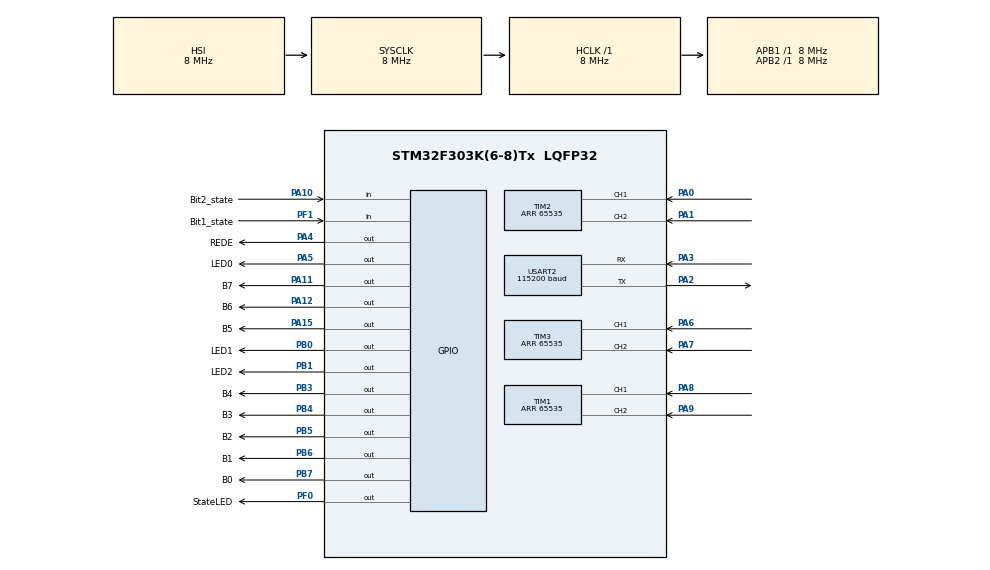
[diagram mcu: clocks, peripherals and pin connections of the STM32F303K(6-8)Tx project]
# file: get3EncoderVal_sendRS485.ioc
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Mcu.Family=STM32F3
Mcu.Name=STM32F303K(6-8)Tx
Mcu.Package=LQFP32
NVIC.PriorityGroup=NVIC_PRIORITYGROUP_4
NVIC.USART2_IRQn=true\:1\:0\:true\:false\:true
PA0.Signal=S_TIM2_CH1_ETR
PA1.Signal=S_TIM2_CH2
PA10.GPIO_Label=Bit2_state
PA10.Signal=GPIO_Input
PA11.GPIO_Label=B7
PA11.Signal=GPIO_Output
PA12.GPIO_Label=B6
PA12.Signal=GPIO_Output
PA13.Mode=Serial_Wire
PA13.Signal=SYS_JTMS-SWDIO
PA14.Mode=Serial_Wire
PA14.Signal=SYS_JTCK-SWCLK
PA15.GPIO_Label=B5
PA15.Signal=GPIO_Output
PA2.Mode=Asynchronous
PA2.Signal=USART2_TX
PA3.Mode=Asynchronous
PA3.Signal=USART2_RX
PA4.GPIO_Label=REDE
PA4.GPIO_ModeDefaultOutputPP=GPIO_MODE_OUTPUT_PP
PA4.GPIO_PuPd=GPIO_NOPULL
PA4.GPIO_Speed=GPIO_SPEED_FREQ_LOW
PA4.PinState=GPIO_PIN_RESET
PA4.Signal=GPIO_Output
PA5.GPIO_Label=LED0
PA5.GPIO_ModeDefaultOutputPP=GPIO_MODE_OUTPUT_PP
PA5.GPIO_PuPd=GPIO_NOPULL
PA5.GPIO_Speed=GPIO_SPEED_FREQ_LOW
PA5.PinState=GPIO_PIN_RESET
PA5.Signal=GPIO_Output
PA6.Signal=S_TIM3_CH1
PA7.Signal=S_TIM3_CH2
PA8.Signal=S_TIM1_CH1
PA9.Signal=S_TIM1_CH2
PB0.GPIO_Label=LED1
PB0.GPIO_ModeDefaultOutputPP=GPIO_MODE_OUTPUT_PP
PB0.GPIO_PuPd=GPIO_NOPULL
PB0.GPIO_Speed=GPIO_SPEED_FREQ_LOW
PB0.PinState=GPIO_PIN_RESET
PB0.Signal=GPIO_Output
PB1.GPIO_Label=LED2
PB1.GPIO_ModeDefaultOutputPP=GPIO_MODE_OUTPUT_PP
PB1.GPIO_PuPd=GPIO_NOPULL
PB1.GPIO_Speed=GPIO_SPEED_FREQ_LOW
PB1.PinState=GPIO_PIN_RESET
PB1.Signal=GPIO_Output
PB3.GPIO_Label=B4
PB3.Signal=GPIO_Output
PB4.GPIO_Label=B3
PB4.Signal=GPIO_Output
PB5.GPIO_Label=B2
PB5.Signal=GPIO_Output
PB6.GPIO_Label=B1
PB6.Signal=GPIO_Output
PB7.GPIO_Label=B0
PB7.Signal=GPIO_Output
PF0\ /\ OSC_IN.GPIO_Label=StateLED
PF0\ /\ OSC_IN.GPIO_ModeDefaultOutputPP=GPIO_MODE_OUTPUT_PP
PF0\ /\ OSC_IN.GPIO_PuPd=GPIO_NOPULL
PF0\ /\ OSC_IN.GPIO_Speed=GPIO_SPEED_FREQ_LOW
PF0\ /\ OSC_IN.PinState=GPIO_PIN_RESET
PF0\ /\ OSC_IN.Signal=GPIO_Output
PF1\ /\ OSC_OUT.GPIO_Label=Bit1_state
PF1\ /\ OSC_OUT.Signal=GPIO_Input
ProjectManager.HeapSize=0x200
ProjectManager.StackSize=0x400
ProjectManager.TargetToolchain=SW4STM32
RCC.AHBFreq_Value=8000000
RCC.APB1Freq_Value=8000000
RCC.APB2Freq_Value=8000000
RCC.CortexFreq_Value=8000000
RCC.HSE_VALUE=8000000
RCC.HSI_VALUE=8000000
RCC.SYSCLKFreq_VALUE=8000000
SH.S_TIM1_CH1.0=TIM1_CH1,Encoder_Interface
SH.S_TIM1_CH2.0=TIM1_CH2,Encoder_Interface
SH.S_TIM2_CH1_ETR.0=TIM2_CH1,Encoder_Interface
SH.S_TIM2_CH2.0=TIM2_CH2,Encoder_Interface
SH.S_TIM3_CH1.0=TIM3_CH1,Encoder_Interface
SH.S_TIM3_CH2.0=TIM3_CH2,Encoder_Interface
TIM1.EncoderMode=TIM_ENCODERMODE_TI12
TIM1.Period=65535
TIM2.EncoderMode=TIM_ENCODERMODE_TI12
TIM2.Period=65535
TIM3.EncoderMode=TIM_ENCODERMODE_TI12
TIM3.Period=65535
USART2.BaudRate=115200
USART2.WordLength=UART_WORDLENGTH_8B
board=get3EncoderVal_sendRS485

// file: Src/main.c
/**
  ******************************************************************************
  * File Name          : main.c
  * Description        : Main program body
  ******************************************************************************
  *
  * COPYRIGHT(c) 2017 STMicroelectronics
  *
  * Redistribution and use in source and binary forms, with or without modification,
  * are permitted provided that the following conditions are met:
  *   1. Redistributions of source code must retain the above copyright notice,
  *      this list of conditions and the following disclaimer.
  *   2. Redistributions in binary form must reproduce the above copyright notice,
  *      this list of conditions and the following disclaimer in the documentation
  *      and/or other materials provided with the distribution.
  *   3. Neither the name of STMicroelectronics nor the names of its contributors
  *      may be used to endorse or promote products derived from this software
  *      without specific prior written permission.
  *
  * THIS SOFTWARE IS PROVIDED BY THE COPYRIGHT HOLDERS AND CONTRIBUTORS "AS IS"
  * AND ANY EXPRESS OR IMPLIED WARRANTIES, INCLUDING, BUT NOT LIMITED TO, THE
  * IMPLIED WARRANTIES OF MERCHANTABILITY AND FITNESS FOR A PARTICULAR PURPOSE ARE
  * DISCLAIMED. IN NO EVENT SHALL THE COPYRIGHT HOLDER OR CONTRIBUTORS BE LIABLE
  * FOR ANY DIRECT, INDIRECT, INCIDENTAL, SPECIAL, EXEMPLARY, OR CONSEQUENTIAL
  * DAMAGES (INCLUDING, BUT NOT LIMITED TO, PROCUREMENT OF SUBSTITUTE GOODS OR
  * SERVICES; LOSS OF USE, DATA, OR PROFITS; OR BUSINESS INTERRUPTION) HOWEVER
  * CAUSED AND ON ANY THEORY OF LIABILITY, WHETHER IN CONTRACT, STRICT LIABILITY,
  * OR TORT (INCLUDING NEGLIGENCE OR OTHERWISE) ARISING IN ANY WAY OUT OF THE USE
  * OF THIS SOFTWARE, EVEN IF ADVISED OF THE POSSIBILITY OF SUCH DAMAGE.
  *
  ******************************************************************************
  */
#include "main.h"
#include "stm32f3xx_hal.h"

/* USER CODE BEGIN Includes */
#define SENDDELAYCOUNT 500
#define RCVDELAYCOUNT 510
/* USER CODE END Includes */

TIM_HandleTypeDef htim1;
TIM_HandleTypeDef htim2;
TIM_HandleTypeDef htim3;

UART_HandleTypeDef huart2;

/* USER CODE BEGIN PV */
/* Private variables ---------------------------------------------------------*/

/* USER CODE END PV */

void SystemClock_Config(void);
void Error_Handler(void);
static void MX_GPIO_Init(void);
static void MX_TIM1_Init(void);
static void MX_TIM2_Init(void);
static void MX_TIM3_Init(void);
static void MX_USART2_UART_Init(void);

/* USER CODE BEGIN PFP */
/* Private function prototypes -----------------------------------------------*/

/* USER CODE END PFP */

/* USER CODE BEGIN 0 */
/*--- buffer ---*/
int _index;
uint8_t RxData;
uint8_t RxBuff[5];
uint16_t databuf[3];
uint8_t UartReady;
/*--- define ---*/
#define true (1)
#define false (0)
/*--- Encoder ---*/
void Encoder_Read_Strat();
void Encoder_Read_Stop();
int getTIM1Enc();
int getTIM2Enc();
int getTIM3Enc();
int isChange(int old,int new);
/*--- UART ---*/
void sendData(uint16_t *Data);
void REDEOn();
void REDEOff();
void waitRxInterrupt();
/*--- LED ---*/
void stateLED(int State);
void Led0On();
void Led1On();
void Led2On();
void Led0Off();
void Led1Off();
void Led2Off();
void Led0Toggle();
void Led1Toggle();
void Led2Toggle();
/*--- JP ---*/
int Bit1_state();
int Bit2_state();
/*--- out cnt ---*/
void output_cntled();
/* USER CODE END 0 */

int main(void)
{

  /* USER CODE BEGIN 1 */
	uint16_t Enc1_value=0,Enc2_value=0,Enc3_value=0;
	uint16_t Enc1_old = 0,Enc2_old = 0,Enc3_old = 0;
	UartReady = false;
  /* USER CODE END 1 */

  /* MCU Configuration----------------------------------------------------------*/

  /* Reset of all peripherals, Initializes the Flash interface and the Systick. */
  HAL_Init();

  /* Configure the system clock */
  SystemClock_Config();

  /* Initialize all configured peripherals */
  MX_GPIO_Init();
  MX_TIM1_Init();
  MX_TIM2_Init();
  MX_TIM3_Init();
  MX_USART2_UART_Init();

  /* USER CODE BEGIN 2 */
  HAL_UART_Receive_IT(&huart2, &RxData, 1);
	Encoder_Read_Strat();
  /* USER CODE END 2 */

  /* Infinite loop */
  while (1)
  {

  /* USER CODE BEGIN 3 */
		Enc1_value = getTIM1Enc();
		Enc2_value = getTIM2Enc();
		Enc3_value = getTIM3Enc();

		if( isChange(Enc1_old,Enc1_value) != 0) Led2Toggle();
		if( isChange(Enc2_old,Enc2_value) != 0) Led0Toggle();
		if( isChange(Enc3_old,Enc3_value) != 0) Led1Toggle();

		Enc1_old = Enc1_value;
		Enc2_old = Enc2_value;
		Enc3_old = Enc3_value;

		/*--- Send Data ---*/
		databuf[0] = Enc1_value;
		databuf[1] = Enc2_value;
		databuf[2] = Enc3_value;

//		sendData(databuf);
		output_cntled();

		HAL_Delay(10);

  }
  /* USER CODE END 3 */

}

/** System Clock Configuration
*/
void SystemClock_Config(void)
{

  RCC_OscInitTypeDef RCC_OscInitStruct;
  RCC_ClkInitTypeDef RCC_ClkInitStruct;
  RCC_PeriphCLKInitTypeDef PeriphClkInit;

    /**Initializes the CPU, AHB and APB busses clocks
    */
  RCC_OscInitStruct.OscillatorType = RCC_OSCILLATORTYPE_HSI;
  RCC_OscInitStruct.HSIState = RCC_HSI_ON;
  RCC_OscInitStruct.HSICalibrationValue = 16;
  RCC_OscInitStruct.PLL.PLLState = RCC_PLL_NONE;
  if (HAL_RCC_OscConfig(&RCC_OscInitStruct) != HAL_OK)
  {
    Error_Handler();
  }

    /**Initializes the CPU, AHB and APB busses clocks
    */
  RCC_ClkInitStruct.ClockType = RCC_CLOCKTYPE_HCLK|RCC_CLOCKTYPE_SYSCLK
                              |RCC_CLOCKTYPE_PCLK1|RCC_CLOCKTYPE_PCLK2;
  RCC_ClkInitStruct.SYSCLKSource = RCC_SYSCLKSOURCE_HSI;
  RCC_ClkInitStruct.AHBCLKDivider = RCC_SYSCLK_DIV1;
  RCC_ClkInitStruct.APB1CLKDivider = RCC_HCLK_DIV1;
  RCC_ClkInitStruct.APB2CLKDivider = RCC_HCLK_DIV1;

  if (HAL_RCC_ClockConfig(&RCC_ClkInitStruct, FLASH_LATENCY_0) != HAL_OK)
  {
    Error_Handler();
  }

  PeriphClkInit.PeriphClockSelection = RCC_PERIPHCLK_TIM1;
  PeriphClkInit.Tim1ClockSelection = RCC_TIM1CLK_HCLK;
  if (HAL_RCCEx_PeriphCLKConfig(&PeriphClkInit) != HAL_OK)
  {
    Error_Handler();
  }

    /**Configure the Systick interrupt time
    */
  HAL_SYSTICK_Config(HAL_RCC_GetHCLKFreq()/1000);

    /**Configure the Systick
    */
  HAL_SYSTICK_CLKSourceConfig(SYSTICK_CLKSOURCE_HCLK);

  /* SysTick_IRQn interrupt configuration */
  HAL_NVIC_SetPriority(SysTick_IRQn, 0, 0);
}

/* TIM1 init function */
static void MX_TIM1_Init(void)
{

  TIM_Encoder_InitTypeDef sConfig;
  TIM_MasterConfigTypeDef sMasterConfig;

  htim1.Instance = TIM1;
  htim1.Init.Prescaler = 0;
  htim1.Init.CounterMode = TIM_COUNTERMODE_UP;
  htim1.Init.Period = 65535;
  htim1.Init.ClockDivision = TIM_CLOCKDIVISION_DIV1;
  htim1.Init.RepetitionCounter = 0;
  sConfig.EncoderMode = TIM_ENCODERMODE_TI12;
  sConfig.IC1Polarity = TIM_ICPOLARITY_RISING;
  sConfig.IC1Selection = TIM_ICSELECTION_DIRECTTI;
  sConfig.IC1Prescaler = TIM_ICPSC_DIV1;
  sConfig.IC1Filter = 0;
  sConfig.IC2Polarity = TIM_ICPOLARITY_RISING;
  sConfig.IC2Selection = TIM_ICSELECTION_DIRECTTI;
  sConfig.IC2Prescaler = TIM_ICPSC_DIV1;
  sConfig.IC2Filter = 0;
  if (HAL_TIM_Encoder_Init(&htim1, &sConfig) != HAL_OK)
  {
    Error_Handler();
  }

  sMasterConfig.MasterOutputTrigger = TIM_TRGO_RESET;
  sMasterConfig.MasterOutputTrigger2 = TIM_TRGO2_RESET;
  sMasterConfig.MasterSlaveMode = TIM_MASTERSLAVEMODE_DISABLE;
  if (HAL_TIMEx_MasterConfigSynchronization(&htim1, &sMasterConfig) != HAL_OK)
  {
    Error_Handler();
  }

}

/* TIM2 init function */
static void MX_TIM2_Init(void)
{

  TIM_Encoder_InitTypeDef sConfig;
  TIM_MasterConfigTypeDef sMasterConfig;

  htim2.Instance = TIM2;
  htim2.Init.Prescaler = 0;
  htim2.Init.CounterMode = TIM_COUNTERMODE_UP;
  htim2.Init.Period = 65535;
  htim2.Init.ClockDivision = TIM_CLOCKDIVISION_DIV1;
  sConfig.EncoderMode = TIM_ENCODERMODE_TI12;
  sConfig.IC1Polarity = TIM_ICPOLARITY_RISING;
  sConfig.IC1Selection = TIM_ICSELECTION_DIRECTTI;
  sConfig.IC1Prescaler = TIM_ICPSC_DIV1;
  sConfig.IC1Filter = 0;
  sConfig.IC2Polarity = TIM_ICPOLARITY_RISING;
  sConfig.IC2Selection = TIM_ICSELECTION_DIRECTTI;
  sConfig.IC2Prescaler = TIM_ICPSC_DIV1;
  sConfig.IC2Filter = 0;
  if (HAL_TIM_Encoder_Init(&htim2, &sConfig) != HAL_OK)
  {
    Error_Handler();
  }

  sMasterConfig.MasterOutputTrigger = TIM_TRGO_RESET;
  sMasterConfig.MasterSlaveMode = TIM_MASTERSLAVEMODE_DISABLE;
  if (HAL_TIMEx_MasterConfigSynchronization(&htim2, &sMasterConfig) != HAL_OK)
  {
    Error_Handler();
  }

}

/* TIM3 init function */
static void MX_TIM3_Init(void)
{

  TIM_Encoder_InitTypeDef sConfig;
  TIM_MasterConfigTypeDef sMasterConfig;

  htim3.Instance = TIM3;
  htim3.Init.Prescaler = 0;
  htim3.Init.CounterMode = TIM_COUNTERMODE_UP;
  htim3.Init.Period = 65535;
  htim3.Init.ClockDivision = TIM_CLOCKDIVISION_DIV1;
  sConfig.EncoderMode = TIM_ENCODERMODE_TI12;
  sConfig.IC1Polarity = TIM_ICPOLARITY_RISING;
  sConfig.IC1Selection = TIM_ICSELECTION_DIRECTTI;
  sConfig.IC1Prescaler = TIM_ICPSC_DIV1;
  sConfig.IC1Filter = 0;
  sConfig.IC2Polarity = TIM_ICPOLARITY_RISING;
  sConfig.IC2Selection = TIM_ICSELECTION_DIRECTTI;
  sConfig.IC2Prescaler = TIM_ICPSC_DIV1;
  sConfig.IC2Filter = 0;
  if (HAL_TIM_Encoder_Init(&htim3, &sConfig) != HAL_OK)
  {
    Error_Handler();
  }

  sMasterConfig.MasterOutputTrigger = TIM_TRGO_RESET;
  sMasterConfig.MasterSlaveMode = TIM_MASTERSLAVEMODE_DISABLE;
  if (HAL_TIMEx_MasterConfigSynchronization(&htim3, &sMasterConfig) != HAL_OK)
  {
    Error_Handler();
  }

}

/* USART2 init function */
static void MX_USART2_UART_Init(void)
{

  huart2.Instance = USART2;
  huart2.Init.BaudRate = 115200;
  huart2.Init.WordLength = UART_WORDLENGTH_8B;
  huart2.Init.StopBits = UART_STOPBITS_1;
  huart2.Init.Parity = UART_PARITY_NONE;
  huart2.Init.Mode = UART_MODE_TX_RX;
  huart2.Init.HwFlowCtl = UART_HWCONTROL_NONE;
  huart2.Init.OverSampling = UART_OVERSAMPLING_16;
  huart2.Init.OneBitSampling = UART_ONE_BIT_SAMPLE_DISABLE;
  huart2.AdvancedInit.AdvFeatureInit = UART_ADVFEATURE_NO_INIT;
  if (HAL_UART_Init(&huart2) != HAL_OK)
  {
    Error_Handler();
  }

}

/** Configure pins as
        * Analog
        * Input
        * Output
        * EVENT_OUT
        * EXTI
*/
static void MX_GPIO_Init(void)
{

  GPIO_InitTypeDef GPIO_InitStruct;

  /* GPIO Ports Clock Enable */
  __HAL_RCC_GPIOF_CLK_ENABLE();
  __HAL_RCC_GPIOA_CLK_ENABLE();
  __HAL_RCC_GPIOB_CLK_ENABLE();

  /*Configure GPIO pin Output Level */
  HAL_GPIO_WritePin(StateLED_GPIO_Port, StateLED_Pin, GPIO_PIN_RESET);

  /*Configure GPIO pin Output Level */
  HAL_GPIO_WritePin(GPIOA, REDE_Pin|LED0_Pin|B7_Pin|B6_Pin
                          |B5_Pin, GPIO_PIN_RESET);

  /*Configure GPIO pin Output Level */
  HAL_GPIO_WritePin(GPIOB, LED1_Pin|LED2_Pin|B4_Pin|B3_Pin
                          |B2_Pin|B1_Pin|B0_Pin, GPIO_PIN_RESET);

  /*Configure GPIO pin : StateLED_Pin */
  GPIO_InitStruct.Pin = StateLED_Pin;
  GPIO_InitStruct.Mode = GPIO_MODE_OUTPUT_PP;
  GPIO_InitStruct.Pull = GPIO_NOPULL;
  GPIO_InitStruct.Speed = GPIO_SPEED_FREQ_LOW;
  HAL_GPIO_Init(StateLED_GPIO_Port, &GPIO_InitStruct);

  /*Configure GPIO pin : Bit1_state_Pin */
  GPIO_InitStruct.Pin = Bit1_state_Pin;
  GPIO_InitStruct.Mode = GPIO_MODE_INPUT;
  GPIO_InitStruct.Pull = GPIO_NOPULL;
  HAL_GPIO_Init(Bit1_state_GPIO_Port, &GPIO_InitStruct);

  /*Configure GPIO pins : REDE_Pin LED0_Pin B7_Pin B6_Pin
                           B5_Pin */
  GPIO_InitStruct.Pin = REDE_Pin|LED0_Pin|B7_Pin|B6_Pin
                          |B5_Pin;
  GPIO_InitStruct.Mode = GPIO_MODE_OUTPUT_PP;
  GPIO_InitStruct.Pull = GPIO_NOPULL;
  GPIO_InitStruct.Speed = GPIO_SPEED_FREQ_LOW;
  HAL_GPIO_Init(GPIOA, &GPIO_InitStruct);

  /*Configure GPIO pins : LED1_Pin LED2_Pin B4_Pin B3_Pin
                           B2_Pin B1_Pin B0_Pin */
  GPIO_InitStruct.Pin = LED1_Pin|LED2_Pin|B4_Pin|B3_Pin
                          |B2_Pin|B1_Pin|B0_Pin;
  GPIO_InitStruct.Mode = GPIO_MODE_OUTPUT_PP;
  GPIO_InitStruct.Pull = GPIO_NOPULL;
  GPIO_InitStruct.Speed = GPIO_SPEED_FREQ_LOW;
  HAL_GPIO_Init(GPIOB, &GPIO_InitStruct);

  /*Configure GPIO pin : Bit2_state_Pin */
  GPIO_InitStruct.Pin = Bit2_state_Pin;
  GPIO_InitStruct.Mode = GPIO_MODE_INPUT;
  GPIO_InitStruct.Pull = GPIO_NOPULL;
  HAL_GPIO_Init(Bit2_state_GPIO_Port, &GPIO_InitStruct);

}

/* USER CODE BEGIN 4 */
/*--- Encoder ---*/
void Encoder_Read_Strat(){
	HAL_TIM_Encoder_Start(&htim1,TIM_CHANNEL_ALL);
	HAL_TIM_Encoder_Start(&htim2,TIM_CHANNEL_ALL);
	HAL_TIM_Encoder_Start(&htim3,TIM_CHANNEL_ALL);
}
void Encoder_Read_Stop(){
	HAL_TIM_Encoder_Stop(&htim1,TIM_CHANNEL_ALL);
	HAL_TIM_Encoder_Stop(&htim2,TIM_CHANNEL_ALL);
	HAL_TIM_Encoder_Stop(&htim3,TIM_CHANNEL_ALL);
}
int getTIM1Enc(){
	return TIM1->CNT;
}
int getTIM2Enc(){
	return TIM2->CNT;
}
int getTIM3Enc(){
	return TIM3->CNT;
}
int isChange(int old,int new){
	if(old != new){
		return true;
	}else{
		return false;
	}
}
/*--- UART ---*/
void sendData(uint16_t *Data){
	int i;
	volatile int j;
	uint8_t TxData[10];
	uint8_t CheckSum = 0;
	TxData[0] = '#';
	TxData[1] = 0xEE;
	TxData[2] = 0x06;
	TxData[3] = ((Data[0]>>0)&0xFF);
	TxData[4] = ((Data[0]>>8)&0xFF);
	TxData[5] = ((Data[1]>>0)&0xFF);
	TxData[6] = ((Data[1]>>8)&0xFF);
	TxData[7] = ((Data[2]>>0)&0xFF);
	TxData[8] = ((Data[2]>>8)&0xFF);
	for(i=0; i<9; i++){
		CheckSum = CheckSum ^ TxData[i];
	}
	TxData[9] = CheckSum;
	REDEOn();
	HAL_UART_Transmit(&huart2,TxData,10,1);
	//HAL_Delay(1);
	for(j=0;j<SENDDELAYCOUNT;j++);
	REDEOff();
	stateLED(2);
}
void REDEOn(){
	HAL_GPIO_WritePin(REDE_GPIO_Port,REDE_Pin,GPIO_PIN_SET);
}
void REDEOff(){
	HAL_GPIO_WritePin(REDE_GPIO_Port,REDE_Pin,GPIO_PIN_RESET);
}
/*--- Interrupt ---*/
void HAL_UART_TxCpltCallback(UART_HandleTypeDef *UartHandle){}
void HAL_UART_RxCpltCallback(UART_HandleTypeDef *UartHandle)
{
	volatile int j=0;
  HAL_UART_Receive_IT(&huart2, &RxData, 1);
	uint8_t Data = RxData;
	if(_index != 0){
		RxBuff[_index-1] = Data;
		_index++;
		if(_index == 5){
			_index = 0;
			if(RxBuff[0]==0xEE && RxBuff[1]==0x01){
				//HAL_Delay(1);
				//for(j=0;j<RCVDELAYCOUNT;j++);
				sendData(databuf);
			}

		}
	}else
		if(Data == 0x23){
			_index = 1;
		}
}
void waitRxInterrupt(){
	while(1){
		if(RxBuff[0] == 0xEE && RxBuff[1]==0x01)break;
	}
}
/*--- LED ---*/
void stateLED(int State){
	if(State == 1){
		HAL_GPIO_WritePin(StateLED_GPIO_Port,StateLED_Pin,GPIO_PIN_SET);
	}else
	if(State == 0){
		HAL_GPIO_WritePin(StateLED_GPIO_Port,StateLED_Pin,GPIO_PIN_RESET);
	}else
	{
		HAL_GPIO_TogglePin(StateLED_GPIO_Port,StateLED_Pin);
	}
}
void Led0On(){
	HAL_GPIO_WritePin(LED0_GPIO_Port,LED0_Pin,GPIO_PIN_SET);
}
void Led1On(){
	HAL_GPIO_WritePin(LED1_GPIO_Port,LED1_Pin,GPIO_PIN_SET);
}
void Led2On(){
	HAL_GPIO_WritePin(LED2_GPIO_Port,LED2_Pin,GPIO_PIN_SET);
}
void Led0Off(){
	HAL_GPIO_WritePin(LED0_GPIO_Port,LED0_Pin,GPIO_PIN_RESET);
}
void Led1Off(){
	HAL_GPIO_WritePin(LED1_GPIO_Port,LED1_Pin,GPIO_PIN_RESET);
}
void Led2Off(){
	HAL_GPIO_WritePin(LED2_GPIO_Port,LED2_Pin,GPIO_PIN_RESET);
}
void Led0Toggle(){
	HAL_GPIO_TogglePin(LED0_GPIO_Port,LED0_Pin);
}
void Led1Toggle(){
	HAL_GPIO_TogglePin(LED1_GPIO_Port,LED1_Pin);
}
void Led2Toggle(){
	HAL_GPIO_TogglePin(LED2_GPIO_Port,LED2_Pin);
}
/*--- JP ---*/
int Bit1_state(){
	return HAL_GPIO_ReadPin(Bit1_state_GPIO_Port,Bit1_state_Pin);
}
int Bit2_state(){
	return HAL_GPIO_ReadPin(Bit2_state_GPIO_Port,Bit2_state_Pin);
}
/*--- out cnt ---*/
void output_cntled(){
	int bit1_st = Bit1_state();
	int bit2_st = Bit2_state();
	if( bit1_st == 0 && bit2_st == 1 ){
		if((databuf[0]&0x01) != 0)HAL_GPIO_WritePin(B0_GPIO_Port,B0_Pin,GPIO_PIN_SET);
		else HAL_GPIO_WritePin(B0_GPIO_Port,B0_Pin,GPIO_PIN_RESET);
		if((databuf[0]&0x02) != 0)HAL_GPIO_WritePin(B1_GPIO_Port,B1_Pin,GPIO_PIN_SET);
		else HAL_GPIO_WritePin(B1_GPIO_Port,B1_Pin,GPIO_PIN_RESET);
		if((databuf[0]&0x04) != 0)HAL_GPIO_WritePin(B2_GPIO_Port,B2_Pin,GPIO_PIN_SET);
		else HAL_GPIO_WritePin(B2_GPIO_Port,B2_Pin,GPIO_PIN_RESET);
		if((databuf[0]&0x08) != 0)HAL_GPIO_WritePin(B3_GPIO_Port,B3_Pin,GPIO_PIN_SET);
		else HAL_GPIO_WritePin(B3_GPIO_Port,B3_Pin,GPIO_PIN_RESET);
		if((databuf[0]&0x10) != 0)HAL_GPIO_WritePin(B4_GPIO_Port,B4_Pin,GPIO_PIN_SET);
		else HAL_GPIO_WritePin(B4_GPIO_Port,B4_Pin,GPIO_PIN_RESET);
		if((databuf[0]&0x20) != 0)HAL_GPIO_WritePin(B5_GPIO_Port,B5_Pin,GPIO_PIN_SET);
		else HAL_GPIO_WritePin(B5_GPIO_Port,B5_Pin,GPIO_PIN_RESET);
		if((databuf[0]&0x40) != 0)HAL_GPIO_WritePin(B6_GPIO_Port,B6_Pin,GPIO_PIN_SET);
		else HAL_GPIO_WritePin(B6_GPIO_Port,B6_Pin,GPIO_PIN_RESET);
		if((databuf[0]&0x80) != 0)HAL_GPIO_WritePin(B7_GPIO_Port,B7_Pin,GPIO_PIN_SET);
		else HAL_GPIO_WritePin(B7_GPIO_Port,B7_Pin,GPIO_PIN_RESET);
	}else
	if( bit1_st == 1 && bit2_st == 0 ){
		if((databuf[1]&0x01) != 0)HAL_GPIO_WritePin(B0_GPIO_Port,B0_Pin,GPIO_PIN_SET);
		else HAL_GPIO_WritePin(B0_GPIO_Port,B0_Pin,GPIO_PIN_RESET);
		if((databuf[1]&0x02) != 0)HAL_GPIO_WritePin(B1_GPIO_Port,B1_Pin,GPIO_PIN_SET);
		else HAL_GPIO_WritePin(B1_GPIO_Port,B1_Pin,GPIO_PIN_RESET);
		if((databuf[1]&0x04) != 0)HAL_GPIO_WritePin(B2_GPIO_Port,B2_Pin,GPIO_PIN_SET);
		else HAL_GPIO_WritePin(B2_GPIO_Port,B2_Pin,GPIO_PIN_RESET);
		if((databuf[1]&0x08) != 0)HAL_GPIO_WritePin(B3_GPIO_Port,B3_Pin,GPIO_PIN_SET);
		else HAL_GPIO_WritePin(B3_GPIO_Port,B3_Pin,GPIO_PIN_RESET);
		if((databuf[1]&0x10) != 0)HAL_GPIO_WritePin(B4_GPIO_Port,B4_Pin,GPIO_PIN_SET);
		else HAL_GPIO_WritePin(B4_GPIO_Port,B4_Pin,GPIO_PIN_RESET);
		if((databuf[1]&0x20) != 0)HAL_GPIO_WritePin(B5_GPIO_Port,B5_Pin,GPIO_PIN_SET);
		else HAL_GPIO_WritePin(B5_GPIO_Port,B5_Pin,GPIO_PIN_RESET);
		if((databuf[1]&0x40) != 0)HAL_GPIO_WritePin(B6_GPIO_Port,B6_Pin,GPIO_PIN_SET);
		else HAL_GPIO_WritePin(B6_GPIO_Port,B6_Pin,GPIO_PIN_RESET);

		if((databuf[1]&0x80) != 0)HAL_GPIO_WritePin(B7_GPIO_Port,B7_Pin,GPIO_PIN_SET);
		else HAL_GPIO_WritePin(B7_GPIO_Port,B7_Pin,GPIO_PIN_RESET);
	}else
	if( bit1_st == 0 && bit2_st ==0  ){

		if((databuf[2]&0x01) != 0)HAL_GPIO_WritePin(B0_GPIO_Port,B0_Pin,GPIO_PIN_SET);
		else HAL_GPIO_WritePin(B0_GPIO_Port,B0_Pin,GPIO_PIN_RESET);
		if((databuf[2]&0x02) != 0)HAL_GPIO_WritePin(B1_GPIO_Port,B1_Pin,GPIO_PIN_SET);
		else HAL_GPIO_WritePin(B1_GPIO_Port,B1_Pin,GPIO_PIN_RESET);

		if((databuf[2]&0x04) != 0)HAL_GPIO_WritePin(B2_GPIO_Port,B2_Pin,GPIO_PIN_SET);
		else HAL_GPIO_WritePin(B2_GPIO_Port,B2_Pin,GPIO_PIN_RESET);
		if((databuf[2]&0x08) != 0)HAL_GPIO_WritePin(B3_GPIO_Port,B3_Pin,GPIO_PIN_SET);
		else HAL_GPIO_WritePin(B3_GPIO_Port,B3_Pin,GPIO_PIN_RESET);

		if((databuf[2]&0x10) != 0)HAL_GPIO_WritePin(B4_GPIO_Port,B4_Pin,GPIO_PIN_SET);
		else HAL_GPIO_WritePin(B4_GPIO_Port,B4_Pin,GPIO_PIN_RESET);
		if((databuf[2]&0x20) != 0)HAL_GPIO_WritePin(B5_GPIO_Port,B5_Pin,GPIO_PIN_SET);
		else HAL_GPIO_WritePin(B5_GPIO_Port,B5_Pin,GPIO_PIN_RESET);
		if((databuf[2]&0x40) != 0)HAL_GPIO_WritePin(B6_GPIO_Port,B6_Pin,GPIO_PIN_SET);

		else HAL_GPIO_WritePin(B6_GPIO_Port,B6_Pin,GPIO_PIN_RESET);
		if((databuf[2]&0x80) != 0)HAL_GPIO_WritePin(B7_GPIO_Port,B7_Pin,GPIO_PIN_SET);
		else HAL_GPIO_WritePin(B7_GPIO_Port,B7_Pin,GPIO_PIN_RESET);
	}

}
/*
void output_cntled(){
	int bit1_st = Bit1_state();
	int bit2_st = Bit2_state();
	if( bit1_st == 0 && bit2_st == 1 ){
		if((databuf[0]&0x0100) != 0)HAL_GPIO_WritePin(B0_GPIO_Port,B0_Pin,GPIO_PIN_SET);
		else HAL_GPIO_WritePin(B0_GPIO_Port,B0_Pin,GPIO_PIN_RESET);
		if((databuf[0]&0x0200) != 0)HAL_GPIO_WritePin(B1_GPIO_Port,B1_Pin,GPIO_PIN_SET);
		else HAL_GPIO_WritePin(B1_GPIO_Port,B1_Pin,GPIO_PIN_RESET);
		if((databuf[0]&0x0400) != 0)HAL_GPIO_WritePin(B2_GPIO_Port,B2_Pin,GPIO_PIN_SET);
		else HAL_GPIO_WritePin(B2_GPIO_Port,B2_Pin,GPIO_PIN_RESET);
		if((databuf[0]&0x0800) != 0)HAL_GPIO_WritePin(B3_GPIO_Port,B3_Pin,GPIO_PIN_SET);
		else HAL_GPIO_WritePin(B3_GPIO_Port,B3_Pin,GPIO_PIN_RESET);
		if((databuf[0]&0x1000) != 0)HAL_GPIO_WritePin(B4_GPIO_Port,B4_Pin,GPIO_PIN_SET);
		else HAL_GPIO_WritePin(B4_GPIO_Port,B4_Pin,GPIO_PIN_RESET);
		if((databuf[0]&0x2000) != 0)HAL_GPIO_WritePin(B5_GPIO_Port,B5_Pin,GPIO_PIN_SET);
		else HAL_GPIO_WritePin(B5_GPIO_Port,B5_Pin,GPIO_PIN_RESET);
		if((databuf[0]&0x4000) != 0)HAL_GPIO_WritePin(B6_GPIO_Port,B6_Pin,GPIO_PIN_SET);
		else HAL_GPIO_WritePin(B6_GPIO_Port,B6_Pin,GPIO_PIN_RESET);
		if((databuf[0]&0x8000) != 0)HAL_GPIO_WritePin(B7_GPIO_Port,B7_Pin,GPIO_PIN_SET);
		else HAL_GPIO_WritePin(B7_GPIO_Port,B7_Pin,GPIO_PIN_RESET);
	}else
	if( bit1_st == 1 && bit2_st == 0 ){
		if((databuf[1]&0x0100) != 0)HAL_GPIO_WritePin(B0_GPIO_Port,B0_Pin,GPIO_PIN_SET);
		else HAL_GPIO_WritePin(B0_GPIO_Port,B0_Pin,GPIO_PIN_RESET);
		if((databuf[1]&0x0200) != 0)HAL_GPIO_WritePin(B1_GPIO_Port,B1_Pin,GPIO_PIN_SET);
		else HAL_GPIO_WritePin(B1_GPIO_Port,B1_Pin,GPIO_PIN_RESET);
		if((databuf[1]&0x0400) != 0)HAL_GPIO_WritePin(B2_GPIO_Port,B2_Pin,GPIO_PIN_SET);
		else HAL_GPIO_WritePin(B2_GPIO_Port,B2_Pin,GPIO_PIN_RESET);
		if((databuf[1]&0x0800) != 0)HAL_GPIO_WritePin(B3_GPIO_Port,B3_Pin,GPIO_PIN_SET);
		else HAL_GPIO_WritePin(B3_GPIO_Port,B3_Pin,GPIO_PIN_RESET);
		if((databuf[1]&0x1000) != 0)HAL_GPIO_WritePin(B4_GPIO_Port,B4_Pin,GPIO_PIN_SET);
		else HAL_GPIO_WritePin(B4_GPIO_Port,B4_Pin,GPIO_PIN_RESET);
		if((databuf[1]&0x2000) != 0)HAL_GPIO_WritePin(B5_GPIO_Port,B5_Pin,GPIO_PIN_SET);
		else HAL_GPIO_WritePin(B5_GPIO_Port,B5_Pin,GPIO_PIN_RESET);
		if((databuf[1]&0x4000) != 0)HAL_GPIO_WritePin(B6_GPIO_Port,B6_Pin,GPIO_PIN_SET);
		else HAL_GPIO_WritePin(B6_GPIO_Port,B6_Pin,GPIO_PIN_RESET);
		if((databuf[1]&0x8000) != 0)HAL_GPIO_WritePin(B7_GPIO_Port,B7_Pin,GPIO_PIN_SET);
		else HAL_GPIO_WritePin(B7_GPIO_Port,B7_Pin,GPIO_PIN_RESET);
	}else
	if( bit1_st == 0 && bit2_st ==0  ){
		if((databuf[2]&0x0100) != 0)HAL_GPIO_WritePin(B0_GPIO_Port,B0_Pin,GPIO_PIN_SET);
		else HAL_GPIO_WritePin(B0_GPIO_Port,B0_Pin,GPIO_PIN_RESET);
		if((databuf[2]&0x0200) != 0)HAL_GPIO_WritePin(B1_GPIO_Port,B1_Pin,GPIO_PIN_SET);
		else HAL_GPIO_WritePin(B1_GPIO_Port,B1_Pin,GPIO_PIN_RESET);
		if((databuf[2]&0x0400) != 0)HAL_GPIO_WritePin(B2_GPIO_Port,B2_Pin,GPIO_PIN_SET);
		else HAL_GPIO_WritePin(B2_GPIO_Port,B2_Pin,GPIO_PIN_RESET);
		if((databuf[2]&0x0800) != 0)HAL_GPIO_WritePin(B3_GPIO_Port,B3_Pin,GPIO_PIN_SET);
		else HAL_GPIO_WritePin(B3_GPIO_Port,B3_Pin,GPIO_PIN_RESET);
		if((databuf[2]&0x1000) != 0)HAL_GPIO_WritePin(B4_GPIO_Port,B4_Pin,GPIO_PIN_SET);
		else HAL_GPIO_WritePin(B4_GPIO_Port,B4_Pin,GPIO_PIN_RESET);
		if((databuf[2]&0x2000) != 0)HAL_GPIO_WritePin(B5_GPIO_Port,B5_Pin,GPIO_PIN_SET);
		else HAL_GPIO_WritePin(B5_GPIO_Port,B5_Pin,GPIO_PIN_RESET);
		if((databuf[2]&0x4000) != 0)HAL_GPIO_WritePin(B6_GPIO_Port,B6_Pin,GPIO_PIN_SET);
		else HAL_GPIO_WritePin(B6_GPIO_Port,B6_Pin,GPIO_PIN_RESET);
		if((databuf[2]&0x8000) != 0)HAL_GPIO_WritePin(B7_GPIO_Port,B7_Pin,GPIO_PIN_SET);
		else HAL_GPIO_WritePin(B7_GPIO_Port,B7_Pin,GPIO_PIN_RESET);
	}
}*/
/*---  ---*/
/* USER CODE END 4 */

void Error_Handler(void)
{
  while(1)
  {
  }
}

/************************ (C) COPYRIGHT STMicroelectronics *****END OF FILE****/
